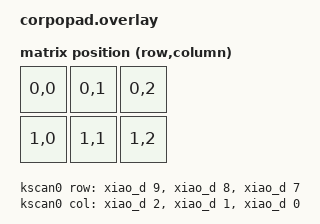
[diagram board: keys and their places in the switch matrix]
#include "corpopad-layouts.dtsi"
#include <dt-bindings/zmk/matrix_transform.h>

/ {

    chosen {
        zmk,kscan = &kscan0;
        zmk,phyiscal-layout = &physical_layout0;
    };

    kscan0: kscan0 {
        compatible = "zmk,kscan-gpio-matrix";
        diode-direction = "col2row";
        wakeup-source;

        col-gpios
            = <&xiao_d 2 GPIO_ACTIVE_HIGH>
            , <&xiao_d 1 GPIO_ACTIVE_HIGH>
            , <&xiao_d 0 GPIO_ACTIVE_HIGH>
            ;

        row-gpios
            = <&xiao_d 9 (GPIO_ACTIVE_HIGH | GPIO_PULL_DOWN)>
            , <&xiao_d 8 (GPIO_ACTIVE_HIGH | GPIO_PULL_DOWN)>
            , <&xiao_d 7 (GPIO_ACTIVE_HIGH | GPIO_PULL_DOWN)>
            ;
    };

        default_transform: matrix_transform {
        compatible = "zmk,matrix-transform";
        rows = <3>;
        columns = <3>;
        map = <
            RC(0,0) RC(0,1) RC(0,2) 
            RC(1,0) RC(1,1) RC(1,2)
        >;
        };
};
